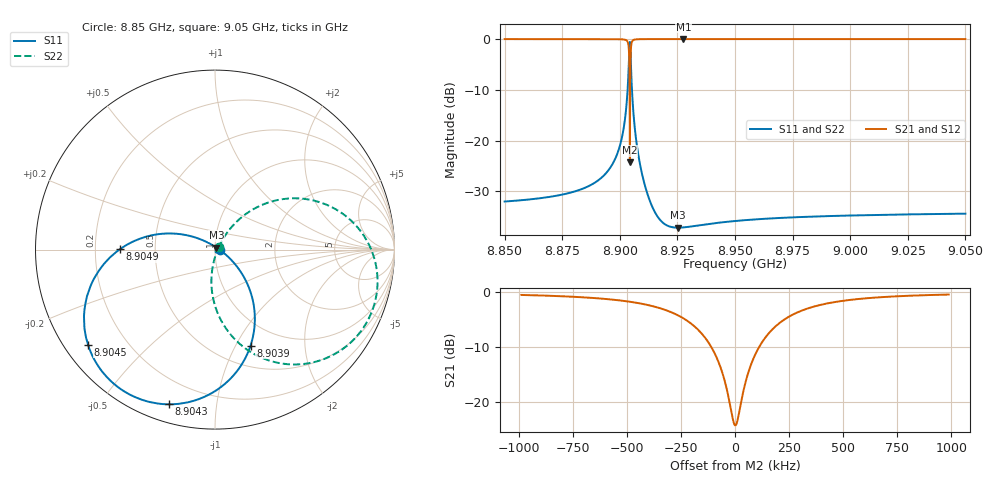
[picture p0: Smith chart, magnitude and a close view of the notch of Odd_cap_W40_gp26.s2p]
! Sonnet Data File
! From: emgraph Version : 16.52
! From Project: Resonator2
! Data is De-embedded
! Data File Written: 10/09/2017 23:05:25
!< HDATE 10/09/2017 14:49:56
!< MDATE 10/09/2017 18:05:28
!< PARAMS
!< gap = 26.0
!< Length = 400.0
!< Pwid1 = 2000.0
!< Pwid2 = 2000.0
!< Airgap = 24.0
!< Width = 40.0
!< END PARAMS
# GHZ S MA R 45.40000
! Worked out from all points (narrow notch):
!   1595 points, 8.85 GHz to 9.05 GHz, reference 45.4 ohm
!   highest |S21| = 0.00 dB at 8.9276 GHz (marker M1); lowest = -24.3 dB at 8.9044 GHz (marker M2)
!   notch at M2: 24.3 dB deep, 167 kHz wide at half that depth
!   lowest |S11| = -37.1 dB at 8.9252 GHz (marker M3), VSWR 1.03, Z = 46.1 + j1.07 ohm
!   |S11| at or under -10 dB: start of sweep to 8.9034 GHz; 8.9053 GHz to end of sweep
!   |S22| runs from -37.1 to -0.5 dB; largest |S21 - S12| = 0
!   S11 on the Smith chart (normalised r, x): 8.85 GHz: 1.05, -0.00; 8.9039 GHz: 0.73, -1.15; 8.9043 GHz: 0.08, -0.74; 8.9045 GHz: 0.07, -0.33; 8.9049 GHz: 0.31, +0.00; 9.05 GHz: 1.04, +0.01
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8.85  0.02515 -0.6  0.9997 -73.4  0.9997 -73.4  0.02516 33.7
!< P1 F=8.85 Eeff=(5.09005347 -2.2131e-5) Z0=(45.4117489 1.00331e-4) R=0.0 C=0.0
!< P2 F=8.85 Eeff=(5.09005347 -2.2131e-5) Z0=(45.4117489 1.00331e-4) R=0.0 C=0.0
8.8834  0.03331 -10.3  0.9994 -74.2  0.9994 -74.2  0.03332 41.8
8.898791  0.07315 -26.8  0.9971 -76.8  0.9971 -76.8  0.07323 52.9
8.902788  0.2106 -42.6  0.975 -84.8  0.975 -84.8  0.2109 51.6
8.903552  0.3703 -54.6  0.9198 -94.4  0.9198 -94.4  0.3709 43.0
8.90392  0.5709 -69.7  0.7955 -107.5  0.7955 -107.5  0.5718 29.6
8.904138  0.7756 -88.5  0.5663 -123.3  0.5663 -123.3  0.777 11.9
8.904269  0.8988 -106.5  0.2937 -134.6  0.2937 -134.6  0.9005 -5.4
8.904371  0.938 -123.4  0.06111 -73.5  0.06111 -73.5  0.9397 -21.9
8.904434  0.922 -134.1  0.1919 -11.5  0.1919 -11.5  0.9237 -32.2
8.90449  0.8838 -143.2  0.3383 -12.1  0.3383 -12.1  0.8854 -41.1
8.904614  0.759 -160.0  0.5882 -23.5  0.5882 -23.5  0.7604 -57.2
8.904852  0.5308 179.9  0.8241 -40.6  0.8241 -40.6  0.5318 -76.1
8.905822  0.1993 155.0  0.9769 -61.2  0.9769 -61.2  0.1997 -95.7
8.9082  0.06893 139.1  0.9972 -68.8  0.9972 -68.8  0.0691 -96.1
8.916667  0.0175 94.6  0.9998 -72.2  0.9998 -72.2  0.01757 -58.7
8.9252  0.01391 56.7  0.9999 -72.8  0.9999 -72.8  0.01394 -22.4
8.9276  0.014 50.1  0.9999 -73.0  0.9999 -73.0  0.01402 -16.0
8.95  0.01618 25.1  0.9999 -73.5  0.9999 -73.5  0.01618 7.8
8.9834  0.01787 16.4  0.9998 -74.0  0.9998 -74.0  0.01787 15.6
9.0168  0.01866 13.1  0.9998 -74.3  0.9998 -74.3  0.01866 18.2
9.05  0.01911 11.3  0.9998 -74.7  0.9998 -74.7  0.01911 19.4
